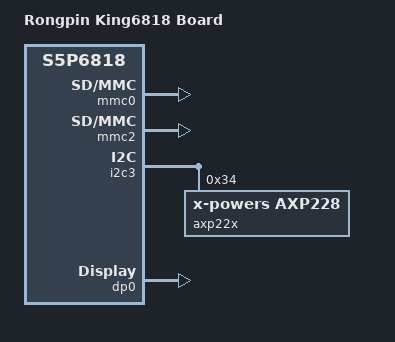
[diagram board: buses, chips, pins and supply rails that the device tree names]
/*
 * (C) Copyright 2026 Gemini / King6818 Porting Project
 * Adapted for Rongpin King6818
 */

/dts-v1/;
#include "s5p6818.dtsi"

/ {
	model = "Rongpin King6818 Board";
	cpu-model = "S5p6818";

	compatible = "rongpin,king6818", "nexell,s5p6818";

	aliases {
		mmc0 = "/mmc@c0062000"; /* SD卡 */
		mmc2 = "/mmc@c0069000"; /* eMMC */
		i2c3 = "/i2c@c00a7000"; /* 核心修改：增加 I2C3 别名 */
	};

	/* MMC0: SD Card */
	mmc0:mmc@c0062000 {
		frequency = <50000000>;
		nexell,drive_dly = <0x0>;
		nexell,drive_shift = <0x03>;
		nexell,sample_dly = <0x00>;
		nexell,sample_shift = <0x02>;
		status = "okay";
	};

	/* MMC2: eMMC */
	mmc2:mmc@c0069000 {
		frequency = <50000000>;
		nexell,drive_dly = <0x0>;
		nexell,drive_shift = <0x03>;
		nexell,sample_dly = <0x00>;
		nexell,sample_shift = <0x02>;
		nexell,bus-width = <4>;
		index = <2>;
		status = "okay";
	};

	/* 核心修改：补全并开启硬件 I2C3 */
	i2c3:i2c@c00a7000 {
		status ="okay";
		nexell,i2c-sda-delay = <100>;
		nexell,i2c-max-bus-freq = <100000>;

		/* 挂载 AXP228 电源管理芯片 */
		axp22x: pmic@34 {
			compatible = "x-powers,axp228";
			reg = <0x34>;
			status = "okay";
		};
	};

	/* 保持原有的显示配置（LVDS 1024x600） */
	dp0:dp@c0102800 {
		status = "okay";
		module = <0>;
		lcd-type = "lvds";

		dp-device {
			format = <0>;
		};

		dp-sync {
			h_active_len = <1024>;
			h_front_porch = <84>;
			h_back_porch = <84>;
			h_sync_width = <88>;
			v_active_len = <600>;
			v_front_porch = <10>;
			v_back_porch = <10>;
			v_sync_width = <20>;
		};

		dp-planes {
			layer_top {
				screen_width = <1024>;
				screen_height = <600>;
				back_color = <0x0>;
			};
		};
	};
};

/* 核心修改：定义引脚控制，将 C15/16 设为硬件 I2C3 模式 */
&pinctrl0 {
	i2c3_pins: i2c3-pins {
		nexell,pins = "gpioc-15", "gpioc-16";
		nexell,pin-function = <1>; /* FUNC1 = I2C3 */
		nexell,pin-pull = <2>;     /* 上拉 */
		nexell,pin-strength = <0>;
	};
};
